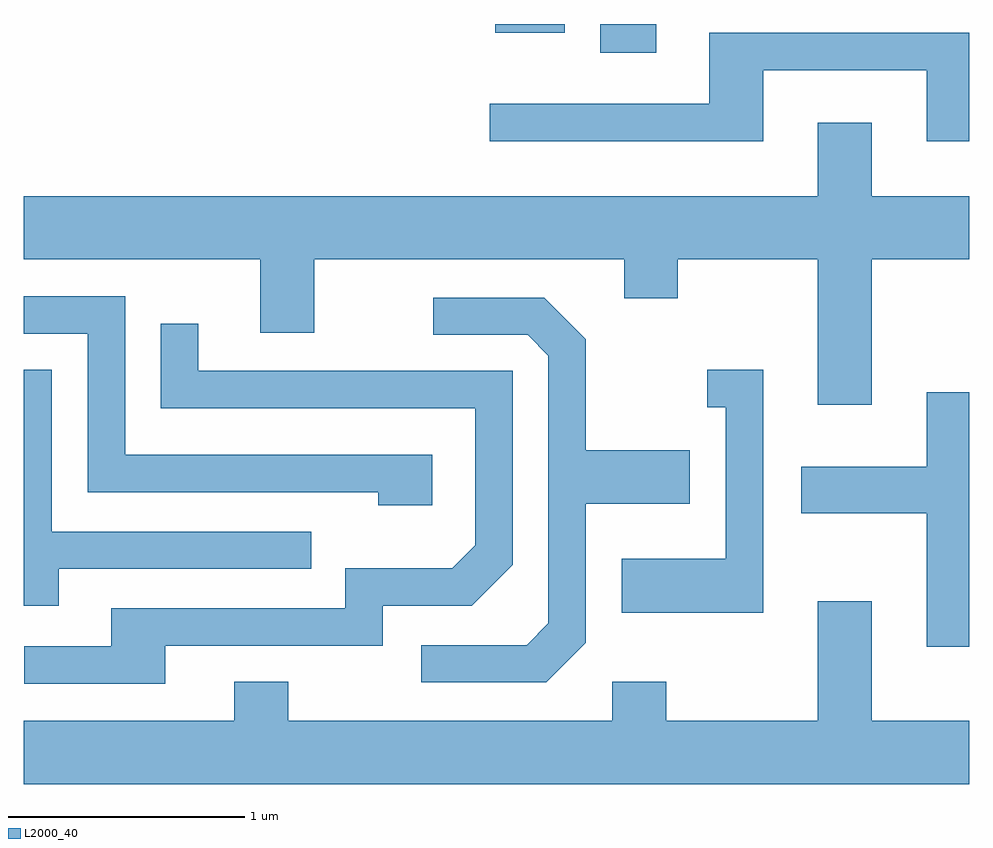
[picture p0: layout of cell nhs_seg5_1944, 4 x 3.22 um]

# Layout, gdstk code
import gdstk
lib = gdstk.Library(unit=1e-6, precision=1e-09)
def R(c, l, rs):  # rectangles x0, y0, x1, y1
    for r in rs: c.add(gdstk.rectangle(r[:2], r[2:], *l))
def P(c, l, *ps):  # polygons
    for p in ps: c.add(gdstk.Polygon(p, *l))
L2000_40 = (2000, 40)

nhs_seg5_1944 = lib.new_cell('nhs_seg5_1944')
R(nhs_seg5_1944, L2000_40, [(246.051,1399.951,246.288,1400.072), (245.606,1400.036,245.899,1400.072)])
P(nhs_seg5_1944, L2000_40, [(246.739,1399.876),(247.431,1399.876),(247.431,1399.576),(247.611,1399.576),(247.611,1400.034),(246.511,1400.034),(246.511,1399.734),(245.583,1399.734),(245.583,1399.576),(246.739,1399.576)],
  [(247.199,1399.076),(247.611,1399.076),(247.611,1399.344),(247.199,1399.344),(247.199,1399.654),(246.971,1399.654),(246.971,1399.344),(243.611,1399.344),(243.611,1399.076),(244.611,1399.076),(244.611,1398.766),(244.839,1398.766),(244.839,1399.076),(246.151,1399.076),(246.151,1398.911),(246.379,1398.911),(246.379,1399.076),(246.971,1399.076),(246.971,1398.461),(247.199,1398.461)],
  [(245.339,1398.249),(244.039,1398.249),(244.039,1398.919),(243.611,1398.919),(243.611,1398.761),(243.881,1398.761),(243.881,1398.091),(245.111,1398.091),(245.111,1398.036),(245.339,1398.036)],
  [(245.989,1397.454),(245.989,1398.041),(246.429,1398.041),(246.429,1398.269),(245.989,1398.269),(245.989,1398.737),(245.812,1398.914),(245.343,1398.914),(245.343,1398.756),(245.744,1398.756),(245.831,1398.669),(245.831,1397.537),(245.739,1397.444),(245.293,1397.444),(245.293,1397.286),(245.822,1397.286)],
  [(244.209,1397.441),(245.129,1397.441),(245.129,1397.611),(245.507,1397.611),(245.679,1397.784),(245.679,1398.604),(244.349,1398.604),(244.349,1398.803),(244.191,1398.803),(244.191,1398.446),(245.521,1398.446),(245.521,1397.867),(245.424,1397.769),(244.971,1397.769),(244.971,1397.599),(243.981,1397.599),(243.981,1397.439),(243.613,1397.439),(243.613,1397.281),(244.209,1397.281)],
  [(246.739,1398.609),(246.503,1398.609),(246.503,1398.451),(246.581,1398.451),(246.581,1397.809),(246.141,1397.809),(246.141,1397.581),(246.739,1397.581)],
  [(243.759,1397.766),(244.828,1397.766),(244.828,1397.924),(243.729,1397.924),(243.729,1398.609),(243.611,1398.609),(243.611,1397.611),(243.759,1397.611)],
  [(247.611,1398.514),(247.431,1398.514),(247.431,1398.199),(246.901,1398.199),(246.901,1398.001),(247.431,1398.001),(247.431,1397.436),(247.611,1397.436)],
  [(247.611,1397.124),(247.199,1397.124),(247.199,1397.629),(246.971,1397.629),(246.971,1397.124),(246.329,1397.124),(246.329,1397.289),(246.101,1397.289),(246.101,1397.124),(244.729,1397.124),(244.729,1397.289),(244.501,1397.289),(244.501,1397.124),(243.611,1397.124),(243.611,1396.856),(247.611,1396.856)])

lib.write_gds('nhs_seg5_1944.gds')
